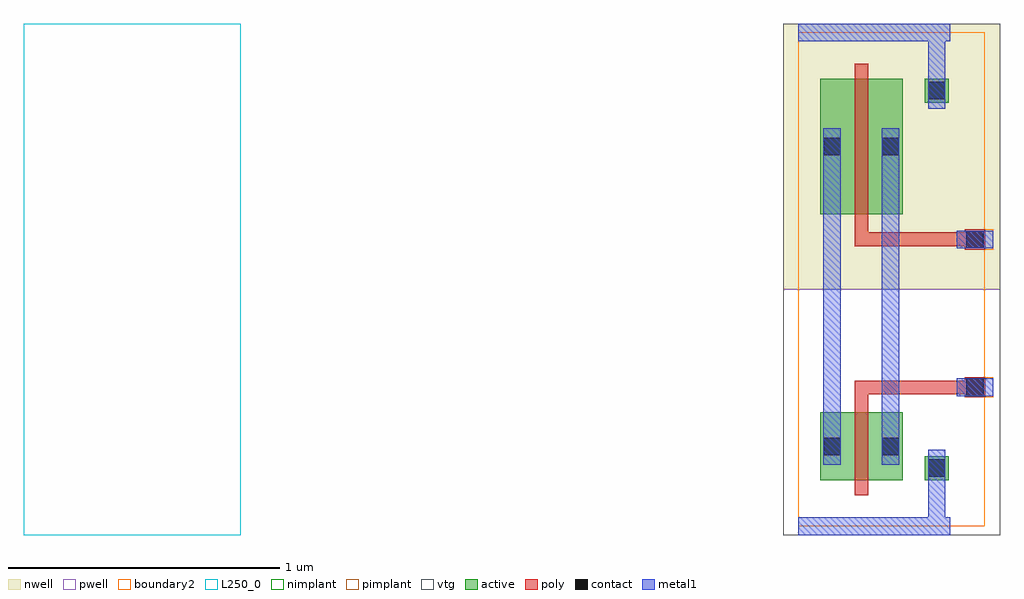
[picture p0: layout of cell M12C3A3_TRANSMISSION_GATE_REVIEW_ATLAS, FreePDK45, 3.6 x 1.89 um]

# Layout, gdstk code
import gdstk
lib = gdstk.Library(unit=1e-6, precision=1e-09)
def R(c, l, rs):  # rectangles x0, y0, x1, y1
    for r in rs: c.add(gdstk.rectangle(r[:2], r[2:], *l))
active = (1, 0)
pwell = (2, 0)
nwell = (3, 0)
nimplant = (4, 0)
pimplant = (5, 0)
vtg = (6, 0)
poly = (9, 0)
contact = (10, 0)
metal1 = (11, 0)
boundary2 = (239, 0)
L250_0 = (250, 0)

transmission_gate_nw250_ = lib.new_cell('TRANSMISSION_GATE_NW250_PW500_L50_contact_8')
R(transmission_gate_nw250_, active, [(0,0.022,0.09,0.112)])
R(transmission_gate_nw250_, nwell, [(-0.055,-0.033,0.145,0.168)])
R(transmission_gate_nw250_, pimplant, [(0,0.022,0.09,0.112)])
R(transmission_gate_nw250_, contact, [(0.013,0.035,0.077,0.1)])
R(transmission_gate_nw250_, metal1, [(0.013,0,0.077,0.135)])
R(transmission_gate_nw250_, boundary2, [(-0.055,-0.033,0.145,0.168)])

c_transmission_gate_nw250_ = lib.new_cell('TRANSMISSION_GATE_NW250_PW500_L50_pmos_m1_w0_500_sm1_dm1')
R(c_transmission_gate_nw250_, active, [(0,0,0.305,0.5)])
R(c_transmission_gate_nw250_, nwell, [(-0.08,-0.08,0.385,0.58)])
R(c_transmission_gate_nw250_, pimplant, [(0,0,0.305,0.5)])
R(c_transmission_gate_nw250_, vtg, [(-0.08,-0.08,0.385,0.58)])
R(c_transmission_gate_nw250_, poly, [(0.127,-0.055,0.177,0.555), (0.127,-0.055,0.177,0.555)])
R(c_transmission_gate_nw250_, metal1, [(0.013,0.182,0.077,0.317), (0.227,0.182,0.292,0.317)])
R(c_transmission_gate_nw250_, boundary2, [(-0.08,-0.08,0.385,0.58)])
c_transmission_gate_nw250_.add(gdstk.Reference(transmission_gate_nw250_, (0,0.182)))
c_transmission_gate_nw250_.add(gdstk.Reference(transmission_gate_nw250_, (0.215,0.182)))
c_transmission_gate_nw250_.add(gdstk.Label('G', (0.152,0.25), layer=9, texttype=0))
c_transmission_gate_nw250_.add(gdstk.Label('S', (0.045,0.25), layer=11, texttype=0))
c_transmission_gate_nw250_.add(gdstk.Label('D', (0.26,0.25), layer=11, texttype=0))

c_transmission_gate_nw250__ = lib.new_cell('TRANSMISSION_GATE_NW250_PW500_L50_contact_7')
R(c_transmission_gate_nw250__, active, [(0,0.022,0.09,0.112)])
R(c_transmission_gate_nw250__, pwell, [(-0.055,-0.033,0.145,0.168)])
R(c_transmission_gate_nw250__, nimplant, [(0,0.022,0.09,0.112)])
R(c_transmission_gate_nw250__, contact, [(0.013,0.035,0.077,0.1)])
R(c_transmission_gate_nw250__, metal1, [(0.013,0,0.077,0.135)])
R(c_transmission_gate_nw250__, boundary2, [(-0.055,-0.033,0.145,0.168)])

c_transmission_gate_nw250___ = lib.new_cell('TRANSMISSION_GATE_NW250_PW500_L50_nmos_m1_w0_250_sm1_dm1')
R(c_transmission_gate_nw250___, active, [(0,0,0.305,0.25)])
R(c_transmission_gate_nw250___, pwell, [(-0.08,-0.08,0.385,0.33)])
R(c_transmission_gate_nw250___, nimplant, [(0,0,0.305,0.25)])
R(c_transmission_gate_nw250___, vtg, [(-0.08,-0.08,0.385,0.33)])
R(c_transmission_gate_nw250___, poly, [(0.127,-0.055,0.177,0.305), (0.127,-0.055,0.177,0.305)])
R(c_transmission_gate_nw250___, metal1, [(0.013,0.057,0.077,0.192), (0.227,0.057,0.292,0.192)])
R(c_transmission_gate_nw250___, boundary2, [(-0.08,-0.08,0.385,0.33)])
c_transmission_gate_nw250___.add(gdstk.Reference(c_transmission_gate_nw250__, (0,0.057)))
c_transmission_gate_nw250___.add(gdstk.Reference(c_transmission_gate_nw250__, (0.215,0.057)))
c_transmission_gate_nw250___.add(gdstk.Label('G', (0.152,0.125), layer=9, texttype=0))
c_transmission_gate_nw250___.add(gdstk.Label('S', (0.045,0.125), layer=11, texttype=0))
c_transmission_gate_nw250___.add(gdstk.Label('D', (0.26,0.125), layer=11, texttype=0))

c_transmission_gate_nw250____ = lib.new_cell('TRANSMISSION_GATE_NW250_PW500_L50_contact_9')
R(c_transmission_gate_nw250____, active, [(0,0.022,0.09,0.112)])
R(c_transmission_gate_nw250____, nwell, [(-0.055,-0.033,0.145,0.168)])
R(c_transmission_gate_nw250____, nimplant, [(0,0.022,0.09,0.112)])
R(c_transmission_gate_nw250____, contact, [(0.013,0.035,0.077,0.1)])
R(c_transmission_gate_nw250____, metal1, [(0.013,0,0.077,0.135)])
R(c_transmission_gate_nw250____, boundary2, [(-0.055,-0.033,0.145,0.168)])

c_transmission_gate_nw250_____ = lib.new_cell('TRANSMISSION_GATE_NW250_PW500_L50_contact_10')
R(c_transmission_gate_nw250_____, active, [(0,0.022,0.09,0.112)])
R(c_transmission_gate_nw250_____, pwell, [(-0.055,-0.033,0.145,0.168)])
R(c_transmission_gate_nw250_____, pimplant, [(0,0.022,0.09,0.112)])
R(c_transmission_gate_nw250_____, contact, [(0.013,0.035,0.077,0.1)])
R(c_transmission_gate_nw250_____, metal1, [(0.013,0,0.077,0.135)])
R(c_transmission_gate_nw250_____, boundary2, [(-0.055,-0.033,0.145,0.168)])

c_transmission_gate_nw250______ = lib.new_cell('TRANSMISSION_GATE_NW250_PW500_L50_contact_11')
R(c_transmission_gate_nw250______, poly, [(0.03,0,0.105,0.075)])
R(c_transmission_gate_nw250______, contact, [(0.035,0.005,0.1,0.07)])
R(c_transmission_gate_nw250______, metal1, [(0,0.005,0.135,0.07)])
R(c_transmission_gate_nw250______, boundary2, [(0,0,0.135,0.075)])

c_transmission_gate_nw250_______ = lib.new_cell('TRANSMISSION_GATE_NW250_PW500_L50_core')
R(c_transmission_gate_nw250_______, pwell, [(-0.055,-0.033,0.743,0.873)])
R(c_transmission_gate_nw250_______, nwell, [(-0.055,0.873,0.743,1.852)])
R(c_transmission_gate_nw250_______, vtg, [(-0.055,-0.033,0.743,0.873), (-0.055,0.873,0.743,1.852)])
R(c_transmission_gate_nw250_______, poly, [(0.208,0.295,0.258,0.512), (0.208,0.487,0.258,0.537), (0.232,0.487,0.65,0.537), (0.208,1.032,0.258,1.083), (0.232,1.032,0.65,1.083), (0.208,1.058,0.258,1.4)])
R(c_transmission_gate_nw250_______, metal1, [(0,-0.033,0.56,0.033), (0.478,0,0.542,0.215), (0.092,0.227,0.157,1.467), (0.307,0.227,0.372,1.467), (0.583,0.48,0.718,0.545), (0.583,1.025,0.718,1.09), (0.478,1.605,0.542,1.82), (0,1.787,0.56,1.852)])
R(c_transmission_gate_nw250_______, boundary2, [(0,0,0.687,1.82), (0,0,0.687,1.82)])
c_transmission_gate_nw250_______.add(gdstk.Reference(c_transmission_gate_nw250_, (0.08,1.15)))
c_transmission_gate_nw250_______.add(gdstk.Reference(c_transmission_gate_nw250___, (0.08,0.17)))
c_transmission_gate_nw250_______.add(gdstk.Reference(c_transmission_gate_nw250____, (0.465,1.538)))
c_transmission_gate_nw250_______.add(gdstk.Reference(c_transmission_gate_nw250_____, (0.465,0.147)))
c_transmission_gate_nw250_______.add(gdstk.Reference(c_transmission_gate_nw250______, (0.583,1.02)))
c_transmission_gate_nw250_______.add(gdstk.Reference(c_transmission_gate_nw250______, (0.583,0.475)))
c_transmission_gate_nw250_______.add(gdstk.Label('gnd', (0.28,0), layer=11, texttype=0))
c_transmission_gate_nw250_______.add(gdstk.Label('vdd', (0.28,1.82), layer=11, texttype=0))
c_transmission_gate_nw250_______.add(gdstk.Label('in', (0.125,0.847), layer=11, texttype=0))
c_transmission_gate_nw250_______.add(gdstk.Label('out', (0.34,0.847), layer=11, texttype=0))
c_transmission_gate_nw250_______.add(gdstk.Label('ctr_p', (0.65,1.058), layer=11, texttype=0))
c_transmission_gate_nw250_______.add(gdstk.Label('ctr_n', (0.65,0.512), layer=11, texttype=0))

c_transmission_gate_nw250________ = lib.new_cell('TRANSMISSION_GATE_NW250_PW500_L50')
R(c_transmission_gate_nw250________, metal1, [(0,-0.033,0.56,0.033), (0.092,0.227,0.157,1.467), (0.307,0.227,0.372,1.467), (0.583,0.48,0.718,0.545), (0.583,1.025,0.718,1.09), (0,1.787,0.56,1.852)])
R(c_transmission_gate_nw250________, boundary2, [(0,0,0.687,1.82)])
c_transmission_gate_nw250________.add(gdstk.Reference(c_transmission_gate_nw250_______, (0,0)))
c_transmission_gate_nw250________.add(gdstk.Label('IN', (0.125,0.847), layer=11, texttype=0))
c_transmission_gate_nw250________.add(gdstk.Label('OUT', (0.34,0.847), layer=11, texttype=0))
c_transmission_gate_nw250________.add(gdstk.Label('CTR_P', (0.65,1.058), layer=11, texttype=0))
c_transmission_gate_nw250________.add(gdstk.Label('CTR_N', (0.65,0.512), layer=11, texttype=0))
c_transmission_gate_nw250________.add(gdstk.Label('VDD', (0.28,1.82), layer=11, texttype=0))
c_transmission_gate_nw250________.add(gdstk.Label('VSS', (0.28,0), layer=11, texttype=0))

m12c3a3_transmission_gat = lib.new_cell('M12C3A3_TRANSMISSION_GATE_REVIEW_ATLAS')
R(m12c3a3_transmission_gat, L250_0, [(-0.055,-0.033,0.743,0.873), (-0.055,-0.033,0.743,0.873), (0,-0.033,0.56,0.033), (0,-0.033,0.56,0.033), (0.092,-0.033,0.157,0.227), (0,0,0.687,1.82), (0,0,0.687,1.82), (0,0,0.687,1.82), (0.478,0,0.542,0.215), (0,0.09,0.465,0.5), (0,0.09,0.465,0.5), (0,0.09,0.465,0.5), (0.208,0.115,0.258,0.475), (0.208,0.115,0.258,0.475), (0.208,0.115,0.258,0.475), (0.208,0.115,0.258,0.475), (0.41,0.115,0.61,0.315), (0.41,0.115,0.61,0.315), (0.478,0.147,0.542,0.282), (0.08,0.17,0.385,0.42), (0.08,0.17,0.385,0.42), (0.465,0.17,0.555,0.26), (0.465,0.17,0.555,0.26), (0.478,0.182,0.542,0.247), (0.025,0.195,0.225,0.395), (0.025,0.195,0.225,0.395), (0.24,0.195,0.44,0.395), (0.24,0.195,0.44,0.395), (0.092,0.227,0.157,1.467), (0.092,0.227,0.157,1.467), (0.092,0.227,0.157,0.363), (0.092,0.227,0.157,0.363), (0.307,0.227,0.372,1.467), (0.307,0.227,0.372,1.467), (0.307,0.227,0.372,0.363), (0.307,0.227,0.372,0.363), (0.08,0.25,0.17,0.34), (0.08,0.25,0.17,0.34), (0.295,0.25,0.385,0.34), (0.295,0.25,0.385,0.34), (0.092,0.263,0.157,0.328), (0.307,0.263,0.372,0.328), (-0.055,0.873,0.743,1.852), (-0.055,0.873,0.743,1.852), (0,1.07,0.465,1.73), (0,1.07,0.465,1.73), (0,1.07,0.465,1.73), (0.208,1.095,0.258,1.705), (0.208,1.095,0.258,1.705), (0.208,1.095,0.258,1.705), (0.208,1.095,0.258,1.705), (0.08,1.15,0.385,1.65), (0.08,1.15,0.385,1.65), (0.025,1.3,0.225,1.5), (0.025,1.3,0.225,1.5), (0.24,1.3,0.44,1.5), (0.24,1.3,0.44,1.5), (0.092,1.332,0.157,1.852), (0.092,1.332,0.157,1.468), (0.092,1.332,0.157,1.468), (0.307,1.332,0.372,1.468), (0.307,1.332,0.372,1.468), (0.08,1.355,0.17,1.445), (0.08,1.355,0.17,1.445), (0.295,1.355,0.385,1.445), (0.295,1.355,0.385,1.445), (0.092,1.368,0.157,1.433), (0.307,1.368,0.372,1.433), (0.41,1.505,0.61,1.705), (0.41,1.505,0.61,1.705), (0.478,1.538,0.542,1.673), (0.465,1.56,0.555,1.65), (0.465,1.56,0.555,1.65), (0.478,1.572,0.542,1.638), (0.478,1.605,0.542,1.82), (0,1.787,0.56,1.852), (0,1.787,0.56,1.852)])
m12c3a3_transmission_gat.add(gdstk.Reference(c_transmission_gate_nw250________, (2.798,0)))
m12c3a3_transmission_gat.add(gdstk.Label('Pre-repair TG geometry projection on debug layer 250', (0,2.152), layer=250, texttype=0))
m12c3a3_transmission_gat.add(gdstk.Label('Post-repair machine-verified TG', (2.798,2.152), layer=239, texttype=0))

lib.write_gds('M12C3A3_TRANSMISSION_GATE_REVIEW_ATLAS.gds')
